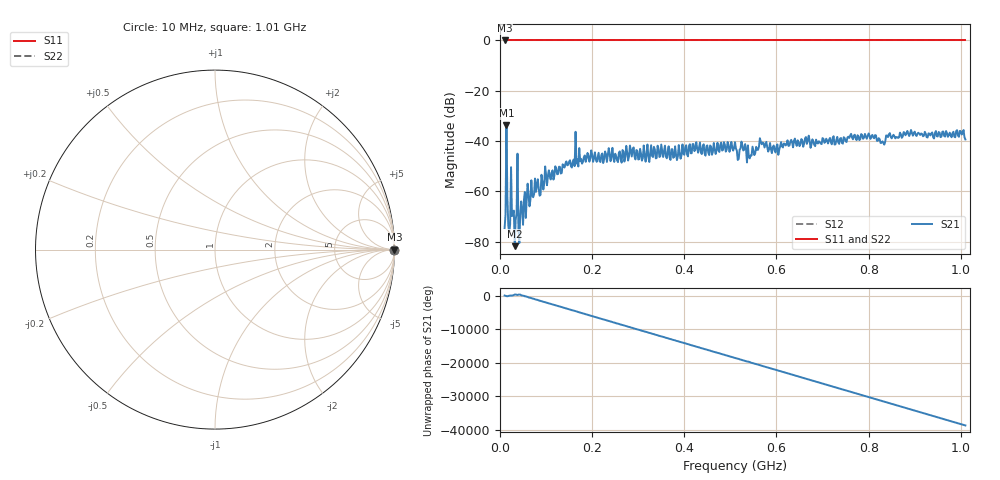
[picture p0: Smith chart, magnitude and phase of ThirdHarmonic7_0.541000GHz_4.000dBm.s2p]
! 8/17/2025 4:17:17 PM
! C:\ANRITSUVNA\TEMP\TEMP.S2P
! CHANNEL.1
! TR.MEASUREMENT
! RAW.DATA
! RF.CORRECTION.OFF
! AVERAGING.OFF
! IF.BANDWIDTH: 5KHZ
! SWEEPTYPE:  FREQ.SWEEP(Linear)
! Reference Plane Port Info
! PORT:  PORT1  PORT2
! DISTANCE:  0  m  0  m
! TIME:  0  s  0  s
! PHASE.OFFSET:  0  deg.  0  deg.
! LOSS:  0  dB  0  dB
! REF.LOSS:  0  dB  0  dB
! REF.FREQ:  0  Hz  0  Hz
! Power Info
! POWER:  -20  dBm  -20  dBm
! EFF.POWER:  -20  dBm  -20  dBm
! SOURCE.ATTEN:  0  dB  0  dB
! TEST.ATTEN:  0  dB  0  dB
# GHZ S RI R 50.0
! FREQ.GHZ  S11RE  S11IM  S21RE  S21IM  S12RE  S12IM  S22RE  S22IM
!; PortSelection: Port_12
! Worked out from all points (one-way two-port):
!   501 points, 10 MHz to 1.01 GHz, reference 50 ohm
!   highest |S21| = -33.68 dB at 14 MHz (marker M1); lowest = -81.8 dB at 32 MHz (marker M2)
!   lowest |S11| = 0.0 dB at 10 MHz (marker M3)
!   |S11| at or under -10 dB: nowhere
!   |S22| runs from 0.0 to 0.0 dB; largest |S21 - S12| = 1
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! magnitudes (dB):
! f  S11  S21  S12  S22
! 10 MHz  0.0  -74.6  0.0  0.0
! 14 MHz  0.0  -33.7  0.0  0.0
! 32 MHz  0.0  -81.8  0.0  0.0
! 34 MHz  0.0  -71.3  0.0  0.0
! 42 MHz  0.0  -80.6  0.0  0.0
! 44 MHz  0.0  -68.7  0.0  0.0
! 56 MHz  0.0  -70.6  0.0  0.0
! 90 MHz  0.0  -53.4  0.0  0.0
! 102 MHz  0.0  -57.6  0.0  0.0
! 158 MHz  0.0  -48.2  0.0  0.0
! 168 MHz  0.0  -47.3  0.0  0.0
! 178 MHz  0.0  -49.0  0.0  0.0
! 344 MHz  0.0  -43.0  0.0  0.0
! 510 MHz  0.0  -40.4  0.0  0.0
! 540 MHz  0.0  -46.4  0.0  0.0
! 568 MHz  0.0  -41.3  0.0  0.0
! 594 MHz  0.0  -41.8  0.0  0.0
! 678 MHz  0.0  -39.3  0.0  0.0
! 796 MHz  0.0  -39.1  0.0  0.0
! 830 MHz  0.0  -40.1  0.0  0.0
! 844 MHz  0.0  -37.3  0.0  0.0
! 1.01 GHz  0.0  -39.4  0.0  0.0
